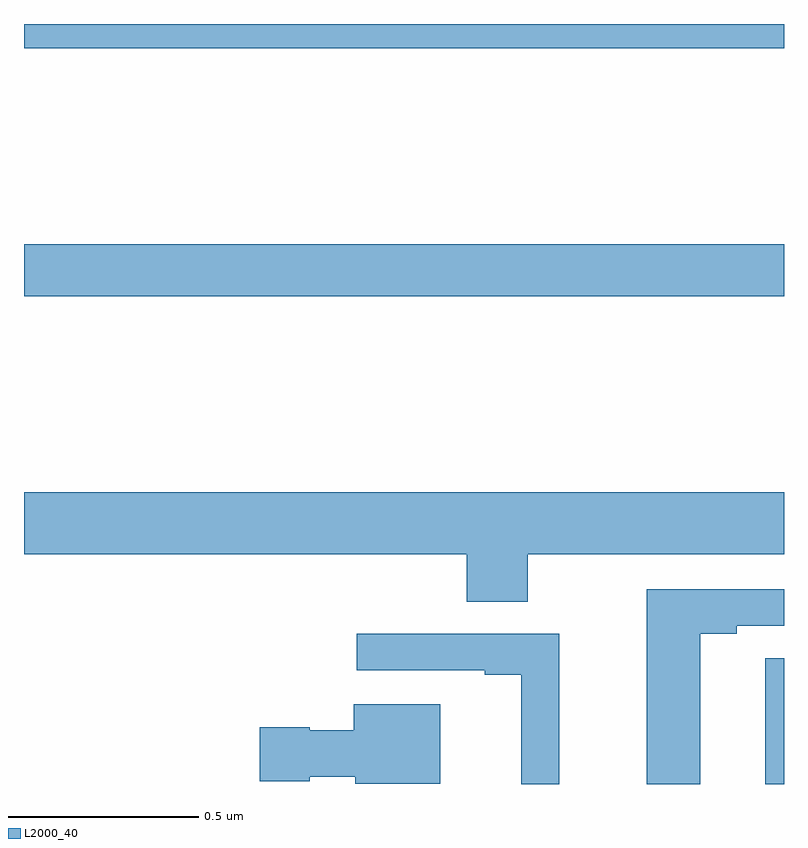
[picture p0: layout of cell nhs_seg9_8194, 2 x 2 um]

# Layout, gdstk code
import gdstk
lib = gdstk.Library(unit=1e-6, precision=1e-09)
def R(c, l, rs):  # rectangles x0, y0, x1, y1
    for r in rs: c.add(gdstk.rectangle(r[:2], r[2:], *l))
def P(c, l, *ps):  # polygons
    for p in ps: c.add(gdstk.Polygon(p, *l))
L2000_40 = (2000, 40)

nhs_seg9_8194 = lib.new_cell('nhs_seg9_8194')
R(nhs_seg9_8194, L2000_40, [(215.951,1178.5,216,1178.831), (214,1179.784,216,1179.92), (214,1180.436,216,1180.5)])
P(nhs_seg9_8194, L2000_40, [(215.325,1179.104),(216,1179.104),(216,1179.268),(214,1179.268),(214,1179.104),(215.165,1179.104),(215.165,1178.98),(215.325,1178.98)],
  [(215.779,1178.896),(215.875,1178.896),(215.875,1178.916),(216,1178.916),(216,1179.012),(215.639,1179.012),(215.639,1178.5),(215.779,1178.5)],
  [(215.409,1178.895),(214.875,1178.895),(214.875,1178.799),(215.213,1178.799),(215.213,1178.787),(215.309,1178.787),(215.309,1178.5),(215.409,1178.5)],
  [(215.095,1178.71),(214.868,1178.71),(214.868,1178.641),(214.752,1178.641),(214.752,1178.649),(214.62,1178.649),(214.62,1178.507),(214.752,1178.507),(214.752,1178.519),(214.872,1178.519),(214.872,1178.501),(215.095,1178.501)])

lib.write_gds('nhs_seg9_8194.gds')
